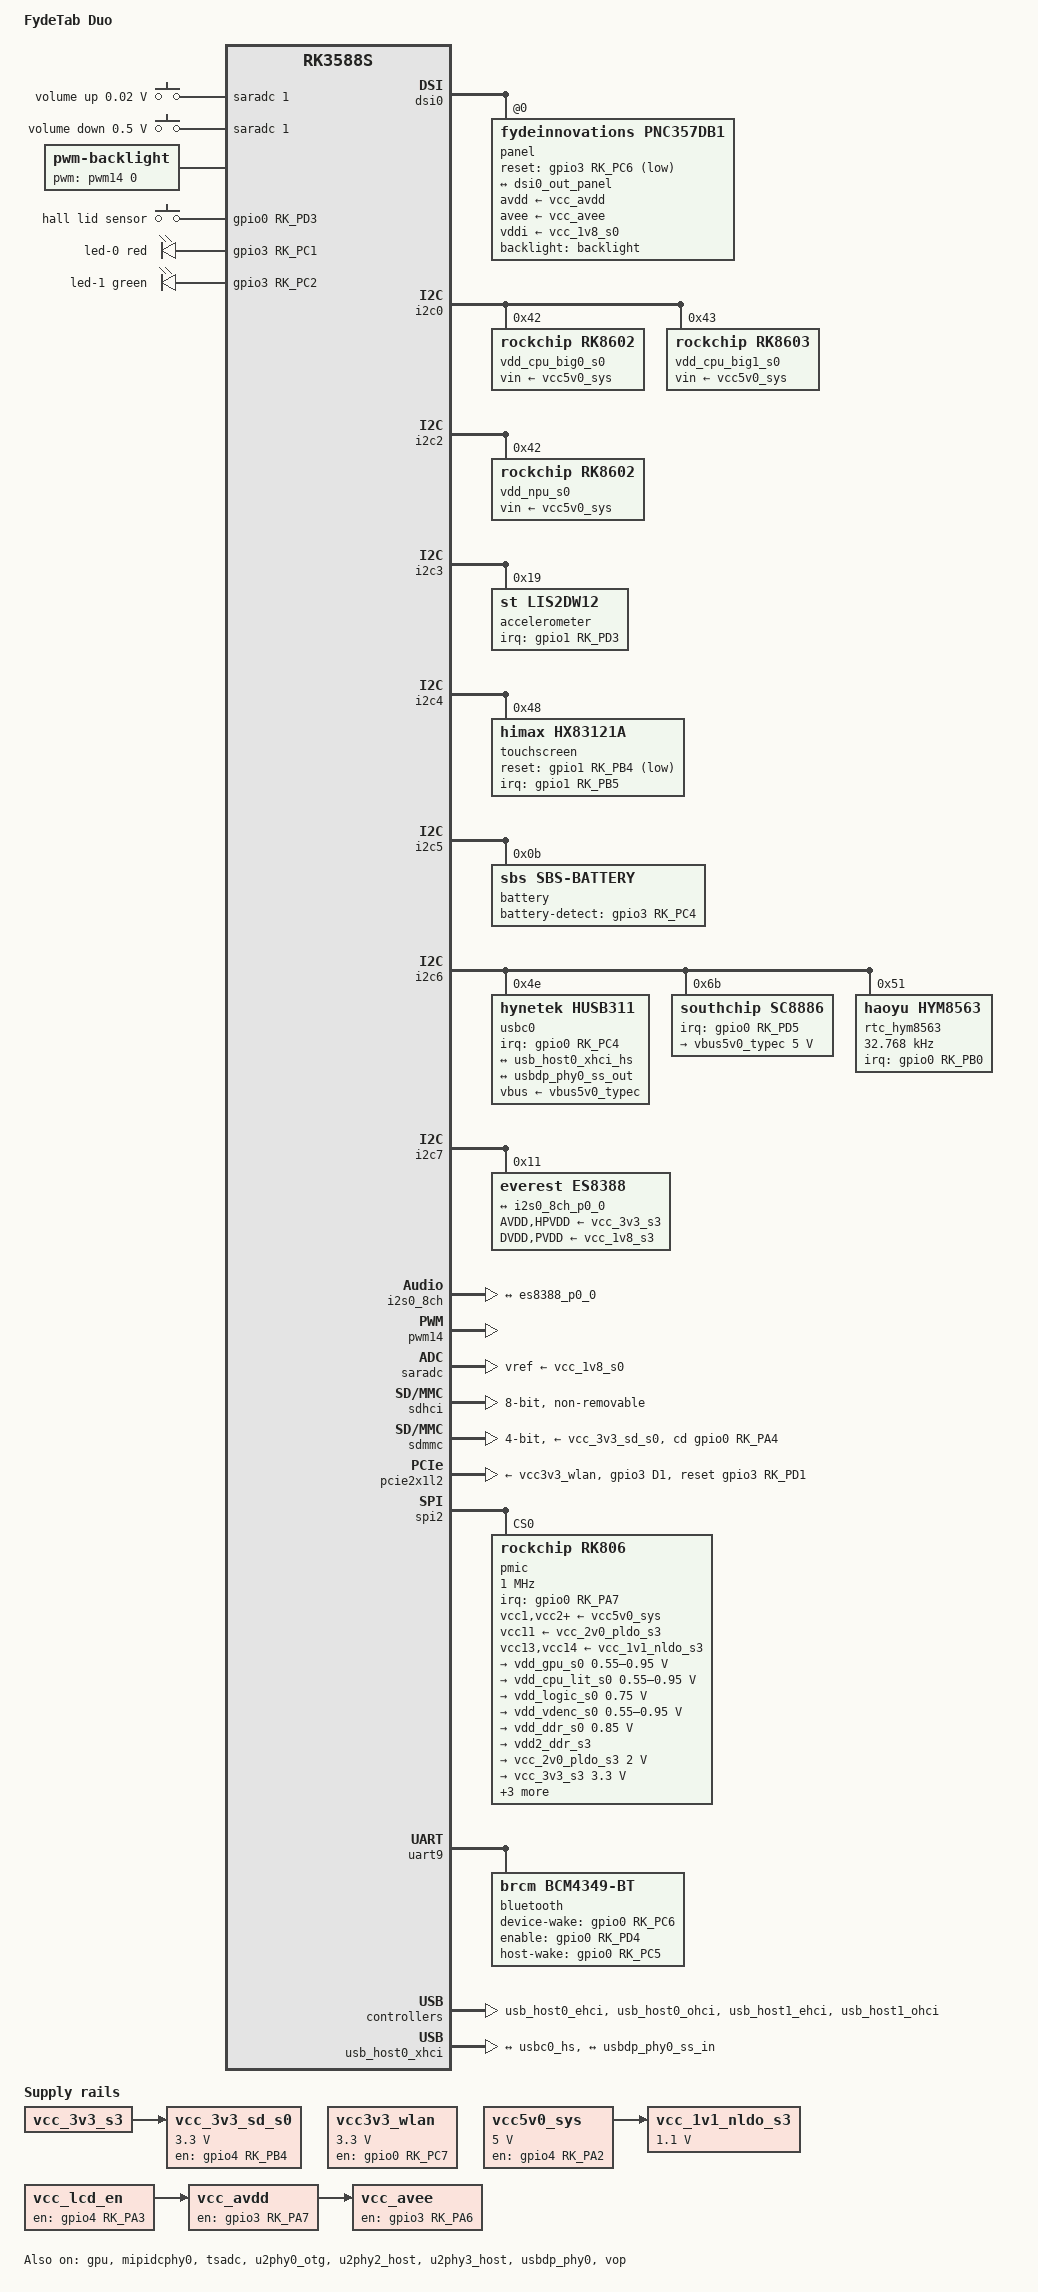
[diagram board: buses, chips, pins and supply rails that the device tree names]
// SPDX-License-Identifier: (GPL-2.0+ OR MIT)
/*
 * Copyright (c) 2026 Bill Sideris <bill88t@feline.gr>
 *
 * FydeTab Duo — RK3588S tablet.
 * Ported from the Fyde/rockchip vendor 6.1 tree (rk6.1-rkr3 Beryllium branch),
 * rewritten to mainline conventions. See TODOs at the bottom for parts that
 * still need upstream drivers before their nodes can be added.
 */

/dts-v1/;

#include <dt-bindings/gpio/gpio.h>
#include <dt-bindings/input/linux-event-codes.h>
#include <dt-bindings/leds/common.h>
#include <dt-bindings/pinctrl/rockchip.h>
#include <dt-bindings/pwm/pwm.h>
#include <dt-bindings/soc/rockchip,vop2.h>
#include <dt-bindings/usb/pd.h>
#include "rk3588s.dtsi"

/ {
	model = "FydeTab Duo";
	compatible = "fydeinnovations,fydetab-duo", "rockchip,rk3588s";
	chassis-type = "tablet";

	aliases {
		mmc0 = &sdhci;
		mmc1 = &sdmmc;
	};

	adc-keys {
		compatible = "adc-keys";
		io-channels = <&saradc 1>;
		io-channel-names = "buttons";
		keyup-threshold-microvolt = <1800000>;
		poll-interval = <100>;

		button-vol-up {
			label = "volume up";
			linux,code = <KEY_VOLUMEUP>;
			press-threshold-microvolt = <20000>;
		};

		button-vol-down {
			label = "volume down";
			linux,code = <KEY_VOLUMEDOWN>;
			press-threshold-microvolt = <500000>;
		};
	};

	backlight: backlight {
		compatible = "pwm-backlight";
		pwms = <&pwm14 0 25000 0>;
		brightness-levels = <
			  0  20  20  21  21  22  22  23
			 23  24  24  25  25  26  26  27
			 27  28  28  29  29  30  30  31
			 31  32  32  33  33  34  34  35
			 35  36  36  37  37  38  38  39
			 40  41  42  43  44  45  46  47
			 48  49  50  51  52  53  54  55
			 56  57  58  59  60  61  62  63
			 64  65  66  67  68  69  70  71
			 72  73  74  75  76  77  78  79
			 80  81  82  83  84  85  86  87
			 88  89  90  91  92  93  94  95
			 96  97  98  99 100 101 102 103
			104 105 106 107 108 109 110 111
			112 113 114 115 116 117 118 119
			120 121 122 123 124 125 126 127
			128 129 130 131 132 133 134 135
			136 137 138 139 140 141 142 143
			144 145 146 147 148 149 150 151
			152 153 154 155 156 157 158 159
			160 161 162 163 164 165 166 167
			168 169 170 171 172 173 174 175
			176 177 178 179 180 181 182 183
			184 185 186 187 188 189 190 191
			192 193 194 195 196 197 198 199
			200 201 202 203 204 205 206 207
			208 209 210 211 212 213 214 215
			216 217 218 219 220 221 222 223
			224 225 226 227 228 229 230 231
			232 233 234 235 236 237 238 239
			240 241 242 243 244 245 246 247
			248 249 250 251 252 253 254 255
		>;
		default-brightness-level = <200>;
		post-pwm-on-delay-ms = <200>;
	};

	gpio-keys {
		compatible = "gpio-keys";
		pinctrl-names = "default";
		pinctrl-0 = <&hall_sensor_int>;

		hall-lid {
			label = "hall lid sensor";
			linux,code = <SW_LID>;
			linux,input-type = <EV_SW>;
			gpios = <&gpio0 RK_PD3 GPIO_ACTIVE_HIGH>;
			wakeup-source;
		};
	};

	leds {
		compatible = "gpio-leds";
		pinctrl-names = "default";
		pinctrl-0 = <&red_led_pin &green_led_pin>;

		led-0 {
			color = <LED_COLOR_ID_RED>;
			default-state = "off";
			function = LED_FUNCTION_CHARGING;
			gpios = <&gpio3 RK_PC1 GPIO_ACTIVE_HIGH>;
			retain-state-suspended;
		};

		led-1 {
			color = <LED_COLOR_ID_GREEN>;
			default-state = "on";
			function = LED_FUNCTION_POWER;
			gpios = <&gpio3 RK_PC2 GPIO_ACTIVE_HIGH>;
		};
	};

	/*
	 * Wi-Fi (AP6275P) sits on pcie2x1l2 per the EDK2 firmware; this
	 * regulator is the module's WIFI_REG_ON power enable (gpio0 C7).
	 */
	vcc3v3_wlan: regulator-vcc3v3-wlan {
		compatible = "regulator-fixed";
		regulator-name = "vcc3v3_wlan";
		enable-active-high;
		gpio = <&gpio0 RK_PC7 GPIO_ACTIVE_HIGH>;
		pinctrl-names = "default";
		pinctrl-0 = <&wifi_poweren>;
		regulator-min-microvolt = <3300000>;
		regulator-max-microvolt = <3300000>;
		startup-delay-us = <5000>;
	};

	sound {
		compatible = "audio-graph-card";
		label = "Fydetab Duo";
		widgets = "Microphone", "Mic Jack",
			  "Headphone", "Headphones",
			  "Speaker", "Speakers";
		routing = "LINPUT1", "Mic Jack",
			  "RINPUT1", "Mic Jack",
			  "Headphones", "LOUT1",
			  "Headphones", "ROUT1",
			  "Speakers", "LOUT2",
			  "Speakers", "ROUT2";
		dais = <&i2s0_8ch_p0>;
	};

	/*
	 * Board input power comes from the battery through the SC8886 charger.
	 * Upstream has no SC8886 driver yet; until that lands, describe the
	 * main input rail as an always-on fixed supply so the PMIC tree has a
	 * root. The 5V rail switch (gpio4 A2) is confirmed by the EDK2
	 * firmware, which drives it during early init. TODO: replace with the
	 * real charger regulator once sc8886 is ported.
	 */
	vcc5v0_sys: regulator-vcc5v0-sys {
		compatible = "regulator-fixed";
		regulator-name = "vcc5v0_sys";
		regulator-always-on;
		regulator-boot-on;
		regulator-min-microvolt = <5000000>;
		regulator-max-microvolt = <5000000>;
		enable-active-high;
		gpio = <&gpio4 RK_PA2 GPIO_ACTIVE_HIGH>;
		pinctrl-names = "default";
		pinctrl-0 = <&vcc5v0_en>;
	};

	vcc_1v1_nldo_s3: regulator-vcc-1v1-nldo-s3 {
		compatible = "regulator-fixed";
		regulator-name = "vcc_1v1_nldo_s3";
		regulator-always-on;
		regulator-boot-on;
		regulator-min-microvolt = <1100000>;
		regulator-max-microvolt = <1100000>;
		vin-supply = <&vcc5v0_sys>;
	};

	vcc_3v3_sd_s0: regulator-vcc-3v3-sd-s0 {
		compatible = "regulator-fixed";
		regulator-name = "vcc_3v3_sd_s0";
		enable-active-high;
		gpio = <&gpio4 RK_PB4 GPIO_ACTIVE_HIGH>;
		pinctrl-names = "default";
		pinctrl-0 = <&sdmmc_power_en>;
		regulator-min-microvolt = <3300000>;
		regulator-max-microvolt = <3300000>;
		regulator-boot-on;
		vin-supply = <&vcc_3v3_s3>;

		regulator-state-mem {
			regulator-off-in-suspend;
		};
	};

	/* Panel backlight/AVDD/AVEE power chain: vcc_lcd_en -> vcc_avdd -> vcc_avee */
	vcc_lcd_en: regulator-vcc-lcd-en {
		compatible = "regulator-fixed";
		regulator-name = "vcc_lcd_en";
		enable-active-high;
		gpio = <&gpio4 RK_PA3 GPIO_ACTIVE_HIGH>;
		pinctrl-names = "default";
		pinctrl-0 = <&vcc_lcd_en_pin>;
	};

	vcc_avdd: regulator-vcc-avdd {
		compatible = "regulator-fixed";
		regulator-name = "vcc_avdd";
		enable-active-high;
		gpio = <&gpio3 RK_PA7 GPIO_ACTIVE_HIGH>;
		pinctrl-names = "default";
		pinctrl-0 = <&avdd_lcd_gpio>;
		startup-delay-us = <3>;
		vin-supply = <&vcc_lcd_en>;
	};

	vcc_avee: regulator-vcc-avee {
		compatible = "regulator-fixed";
		regulator-name = "vcc_avee";
		enable-active-high;
		gpio = <&gpio3 RK_PA6 GPIO_ACTIVE_HIGH>;
		pinctrl-names = "default";
		pinctrl-0 = <&avee_lcd_gpio>;
		startup-delay-us = <3>;
		vin-supply = <&vcc_avdd>;
	};
};

&cpu_l0 {
	cpu-supply = <&vdd_cpu_lit_s0>;
	mem-supply = <&vdd_cpu_lit_mem_s0>;
};

&cpu_b0 {
	cpu-supply = <&vdd_cpu_big0_s0>;
	mem-supply = <&vdd_cpu_big0_mem_s0>;
};

&cpu_b2 {
	cpu-supply = <&vdd_cpu_big1_s0>;
	mem-supply = <&vdd_cpu_big1_mem_s0>;
};

&dsi0 {
	#address-cells = <1>;
	#size-cells = <0>;
	status = "okay";

	panel@0 {
		/*
		 * CSOT PNC357DB1 (FydeTab Duo variant), driven by
		 * panel-himax-hx83121a. Backlight is pwm-backlight.
		 * NOTE: vddi mapping needs verification on hardware; the
		 * vendor tree only described vcc_avee to the panel, so the
		 * panel IO rail is assumed to be an always-on 1v8 rail.
		 */
		compatible = "fydeinnovations,pnc357db1";
		reg = <0>;
		backlight = <&backlight>;
		avdd-supply = <&vcc_avdd>;
		avee-supply = <&vcc_avee>;
		pinctrl-names = "default";
		pinctrl-0 = <&lcd_rst_gpio>;
		/* reset line is asserted low; EDK2 holds it low 120ms, then
		 * releases it and waits 120ms before the DCS init */
		reset-gpios = <&gpio3 RK_PC6 GPIO_ACTIVE_LOW>;
		rotation = <90>;
		vddi-supply = <&vcc_1v8_s0>;

		port {
			panel_in_dsi: endpoint {
				remote-endpoint = <&dsi0_out_panel>;
			};
		};
	};
};

&dsi0_in {
	dsi0_in_vp2: endpoint {
		remote-endpoint = <&vp2_out_dsi0>;
	};
};

&dsi0_out {
	dsi0_out_panel: endpoint {
		remote-endpoint = <&panel_in_dsi>;
	};
};

&gpu {
	mali-supply = <&vdd_gpu_s0>;
	mem-supply = <&vdd_gpu_mem_s0>;
	status = "okay";
};

&i2c0 {
	pinctrl-names = "default";
	pinctrl-0 = <&i2c0m2_xfer>;
	status = "okay";

	vdd_cpu_big0_s0: vdd_cpu_big0_mem_s0: regulator@42 {
		compatible = "rockchip,rk8602";
		reg = <0x42>;
		fcs,suspend-voltage-selector = <1>;
		regulator-always-on;
		regulator-boot-on;
		regulator-min-microvolt = <550000>;
		regulator-max-microvolt = <1050000>;
		regulator-name = "vdd_cpu_big0_s0";
		regulator-ramp-delay = <2300>;
		vin-supply = <&vcc5v0_sys>;

		regulator-state-mem {
			regulator-off-in-suspend;
		};
	};

	vdd_cpu_big1_s0: vdd_cpu_big1_mem_s0: regulator@43 {
		compatible = "rockchip,rk8603", "rockchip,rk8602";
		reg = <0x43>;
		fcs,suspend-voltage-selector = <1>;
		regulator-always-on;
		regulator-boot-on;
		regulator-min-microvolt = <550000>;
		regulator-max-microvolt = <1050000>;
		regulator-name = "vdd_cpu_big1_s0";
		regulator-ramp-delay = <2300>;
		vin-supply = <&vcc5v0_sys>;

		regulator-state-mem {
			regulator-off-in-suspend;
		};
	};
};

&i2c2 {
	status = "okay";

	vdd_npu_s0: vdd_npu_mem_s0: regulator@42 {
		compatible = "rockchip,rk8602";
		reg = <0x42>;
		fcs,suspend-voltage-selector = <1>;
		regulator-always-on;
		regulator-boot-on;
		regulator-min-microvolt = <550000>;
		regulator-max-microvolt = <950000>;
		regulator-name = "vdd_npu_s0";
		regulator-ramp-delay = <2300>;
		vin-supply = <&vcc5v0_sys>;

		regulator-state-mem {
			regulator-off-in-suspend;
		};
	};
};

&i2c3 {
	pinctrl-names = "default";
	pinctrl-0 = <&i2c3m1_xfer>;
	status = "okay";

	accelerometer@19 {
		compatible = "st,lis2dw12";
		reg = <0x19>;
		interrupt-parent = <&gpio1>;
		interrupts = <RK_PD3 IRQ_TYPE_LEVEL_LOW>;
		pinctrl-names = "default";
		pinctrl-0 = <&gyr_int_l>;
	};
};

&i2c4 {
	pinctrl-names = "default";
	pinctrl-0 = <&i2c4m3_xfer>;
	status = "okay";

	touchscreen@48 {
		compatible = "himax,hx83121a";
		reg = <0x48>;
		interrupt-parent = <&gpio1>;
		interrupts = <RK_PB5 IRQ_TYPE_LEVEL_LOW>;
		pinctrl-names = "default";
		pinctrl-0 = <&touch_int &touch_rst>;
		reset-gpios = <&gpio1 RK_PB4 GPIO_ACTIVE_LOW>;
		touchscreen-size-x = <1600>;
		touchscreen-size-y = <2560>;
	};
};

&i2c5 {
	pinctrl-names = "default";
	pinctrl-0 = <&i2c5m3_xfer>;
	status = "okay";

	battery: battery@b {
		compatible = "sbs,sbs-battery";
		reg = <0x0b>;
		sbs,battery-detect-gpios = <&gpio3 RK_PC4 GPIO_ACTIVE_HIGH>;
		sbs,i2c-retry-count = <100>;
		sbs,poll-retry-count = <100>;
	};
};

&i2c6 {
	pinctrl-names = "default";
	pinctrl-0 = <&i2c6m3_xfer>;
	status = "okay";

	usbc0: usb-tc@4e {
		compatible = "hynetek,husb311";
		reg = <0x4e>;
		interrupt-parent = <&gpio0>;
		interrupts = <RK_PC4 IRQ_TYPE_LEVEL_LOW>;
		pinctrl-names = "default";
		pinctrl-0 = <&usbc0_int>;
		vbus-supply = <&vbus5v0_typec>;
		wakeup-source;

		usb_con: connector {
			compatible = "usb-c-connector";
			data-role = "dual";
			label = "USB-C";
			power-role = "dual";
			try-power-role = "sink";
			op-sink-microwatt = <1000000>;
			sink-pdos =
				<PDO_FIXED(5000, 3000, PDO_FIXED_USB_COMM)
				 PDO_FIXED(9000, 3000, PDO_FIXED_USB_COMM)
				 PDO_FIXED(20000, 2500, PDO_FIXED_USB_COMM)>;
			source-pdos =
				<PDO_FIXED(5000, 3000, PDO_FIXED_USB_COMM)>;

			ports {
				#address-cells = <1>;
				#size-cells = <0>;

				port@0 {
					reg = <0>;
					usbc0_hs: endpoint {
						remote-endpoint =
							<&usb_host0_xhci_hs>;
					};
				};

				port@1 {
					reg = <1>;
					usbc0_ss: endpoint {
						remote-endpoint =
							<&usbdp_phy0_ss_out>;
					};
				};
			};
		};
	};

	/*
	 * SC8886 charger (register-compatible with the TI BQ25703A).
	 * Battery limits are from the vendor tree; verify on hardware.
	 * The vbus regulator sources the USB-C VBUS path (gpio4 A6 is
	 * the OTG/charge direction enable).
	 */
	sc8886: charger@6b {
		compatible = "southchip,sc8886";
		reg = <0x6b>;
		interrupt-parent = <&gpio0>;
		interrupts = <RK_PD5 IRQ_TYPE_LEVEL_LOW>;
		pinctrl-names = "default";
		pinctrl-0 = <&charger_int>;
		power-supplies = <&usb_con>;

		battery {
			constant-charge-current-max-microamp = <2500000>;
			constant-charge-voltage-max-microvolt = <13200000>;
			voltage-min-design-microvolt = <3200000>;
		};

		regulators {
			vbus5v0_typec: vbus {
				regulator-name = "vbus5v0_typec";
				regulator-min-microvolt = <5000000>;
				regulator-max-microvolt = <5000000>;
				enable-active-high;
				enable-gpios = <&gpio4 RK_PA6 GPIO_ACTIVE_HIGH>;
				pinctrl-names = "default";
				pinctrl-0 = <&charger_otg_en>;
			};
		};
	};

	rtc_hym8563: rtc@51 {
		compatible = "haoyu,hym8563";
		reg = <0x51>;
		#clock-cells = <0>;
		clock-frequency = <32768>;
		clock-output-names = "hym8563";
		interrupt-parent = <&gpio0>;
		interrupts = <RK_PB0 IRQ_TYPE_LEVEL_LOW>;
		pinctrl-names = "default";
		pinctrl-0 = <&hym8563_int>;
		wakeup-source;
	};
};

&i2c7 {
	pinctrl-names = "default";
	pinctrl-0 = <&i2c7m0_xfer>;
	status = "okay";

	es8388: audio-codec@11 {
		compatible = "everest,es8388", "everest,es8328";
		reg = <0x11>;
		#sound-dai-cells = <0>;
		assigned-clock-rates = <12288000>;
		assigned-clocks = <&cru I2S0_8CH_MCLKOUT>;
		AVDD-supply = <&vcc_3v3_s3>;
		clocks = <&cru I2S0_8CH_MCLKOUT>;
		DVDD-supply = <&vcc_1v8_s3>;
		HPVDD-supply = <&vcc_3v3_s3>;
		PVDD-supply = <&vcc_1v8_s3>;

		port {
			es8388_p0_0: endpoint {
				remote-endpoint = <&i2s0_8ch_p0_0>;
			};
		};
	};
};

&i2s0_8ch {
	pinctrl-names = "default";
	pinctrl-0 = <&i2s0_mclk
		     &i2s0_lrck
		     &i2s0_sclk
		     &i2s0_sdi0
		     &i2s0_sdo0>;
	status = "okay";

	i2s0_8ch_p0: port {
		i2s0_8ch_p0_0: endpoint {
			dai-format = "i2s";
			mclk-fs = <256>;
			remote-endpoint = <&es8388_p0_0>;
		};
	};
};

&mipidcphy0 {
	status = "okay";
};

&pinctrl {
	leds {
		red_led_pin: red-led-pin {
			rockchip,pins = <3 RK_PC1 RK_FUNC_GPIO &pcfg_pull_none>;
		};

		green_led_pin: green-led-pin {
			rockchip,pins = <3 RK_PC2 RK_FUNC_GPIO &pcfg_pull_none>;
		};
	};

	lcd {
		lcd_rst_gpio: lcd-rst-gpio {
			rockchip,pins = <3 RK_PC6 RK_FUNC_GPIO &pcfg_pull_none>;
		};

		avdd_lcd_gpio: avdd-lcd-gpio {
			rockchip,pins = <3 RK_PA7 RK_FUNC_GPIO &pcfg_pull_none>;
		};

		avee_lcd_gpio: avee-lcd-gpio {
			rockchip,pins = <3 RK_PA6 RK_FUNC_GPIO &pcfg_pull_none>;
		};

		vcc_lcd_en_pin: vcc-lcd-en-pin {
			rockchip,pins = <4 RK_PA3 RK_FUNC_GPIO &pcfg_pull_none>;
		};
	};

	sensor {
		hall_sensor_int: hall-sensor-int {
			rockchip,pins = <0 RK_PD3 RK_FUNC_GPIO &pcfg_pull_up>;
		};

		gyr_int_l: gyr-int-l {
			rockchip,pins = <1 RK_PD3 RK_FUNC_GPIO &pcfg_pull_up>;
		};
	};

	sd {
		sdmmc_power_en: sdmmc-power-en {
			rockchip,pins = <4 RK_PB4 RK_FUNC_GPIO &pcfg_pull_up>;
		};
	};

	bluetooth-pins {
		bt_reset: bt-reset {
			rockchip,pins = <0 RK_PD4 RK_FUNC_GPIO &pcfg_pull_none>;
		};

		bt_wake_dev: bt-wake-dev {
			rockchip,pins = <0 RK_PC6 RK_FUNC_GPIO &pcfg_pull_none>;
		};

		bt_wake_host: bt-wake-host {
			rockchip,pins = <0 RK_PC5 RK_FUNC_GPIO &pcfg_pull_down>;
		};
	};

	wifi {
		wifi_poweren: wifi-poweren {
			rockchip,pins = <0 RK_PC7 RK_FUNC_GPIO &pcfg_pull_none>;
		};
	};

	pcie {
		pcie_rst: pcie-rst {
			rockchip,pins = <3 RK_PD1 RK_FUNC_GPIO &pcfg_pull_none>;
		};
	};

	12c-power {
		vcc5v0_en: vcc5v0-en {
			rockchip,pins = <4 RK_PA2 RK_FUNC_GPIO &pcfg_pull_up>;
		};
	};

	usb-typec {
		usbc0_int: usbc0-int {
			rockchip,pins = <0 RK_PC4 RK_FUNC_GPIO &pcfg_pull_up>;
		};
	};

	charger {
		charger_int: charger-int {
			rockchip,pins = <0 RK_PD5 RK_FUNC_GPIO &pcfg_pull_up>;
		};

		charger_otg_en: charger-otg-en {
			rockchip,pins = <4 RK_PA6 RK_FUNC_GPIO &pcfg_pull_none>;
		};
	};

	touch {
		touch_int: touch-int {
			rockchip,pins = <1 RK_PB5 RK_FUNC_GPIO &pcfg_pull_up>;
		};

		touch_rst: touch-rst {
			rockchip,pins = <1 RK_PB4 RK_FUNC_GPIO &pcfg_pull_none>;
		};
	};

	rtc {
		hym8563_int: hym8563-int {
			rockchip,pins = <0 RK_PB0 RK_FUNC_GPIO &pcfg_pull_up>;
		};
	};
};

&pwm14 {
	pinctrl-0 = <&pwm14m1_pins>;
	pinctrl-names = "default";
	status = "okay";
};

&saradc {
	vref-supply = <&vcc_1v8_s0>;
	status = "okay";
};

&sdhci {
	bus-width = <8>;
	max-frequency = <200000000>;
	mmc-hs400-1_8v;
	mmc-hs400-enhanced-strobe;
	no-sd;
	no-sdio;
	non-removable;
	status = "okay";
};

&sdmmc {
	bus-width = <4>;
	cap-mmc-highspeed;
	cap-sd-highspeed;
	cd-gpios = <&gpio0 RK_PA4 GPIO_ACTIVE_HIGH>;
	/* cd line is unreliable on this board; broken-cd polls instead */
	broken-cd;
	disable-wp;
	max-frequency = <150000000>;
	no-mmc;
	no-sdio;
	vmmc-supply = <&vcc_3v3_sd_s0>;
	status = "okay";
};

&pcie2x1l2 {
	pinctrl-names = "default";
	pinctrl-0 = <&pcie_rst>;
	reset-gpios = <&gpio3 RK_PD1 GPIO_ACTIVE_HIGH>;
	vpcie3v3-supply = <&vcc3v3_wlan>;
	status = "okay";
};

&spi2 {
	#address-cells = <1>;
	assigned-clocks = <&cru CLK_SPI2>;
	assigned-clock-rates = <200000000>;
	num-cs = <1>;
	pinctrl-0 = <&spi2m2_cs0 &spi2m2_pins>;
	pinctrl-names = "default";
	#size-cells = <0>;
	status = "okay";

	pmic@0 {
		compatible = "rockchip,rk806";
		reg = <0x0>;
		#gpio-cells = <2>;
		gpio-controller;
		interrupt-parent = <&gpio0>;
		interrupts = <RK_PA7 IRQ_TYPE_LEVEL_LOW>;
		pinctrl-0 = <&pmic_pins>, <&rk806_dvs1_null>,
			    <&rk806_dvs2_null>, <&rk806_dvs3_null>;
		pinctrl-names = "default";
		spi-max-frequency = <1000000>;

		vcc1-supply = <&vcc5v0_sys>;
		vcc2-supply = <&vcc5v0_sys>;
		vcc3-supply = <&vcc5v0_sys>;
		vcc4-supply = <&vcc5v0_sys>;
		vcc5-supply = <&vcc5v0_sys>;
		vcc6-supply = <&vcc5v0_sys>;
		vcc7-supply = <&vcc5v0_sys>;
		vcc8-supply = <&vcc5v0_sys>;
		vcc9-supply = <&vcc5v0_sys>;
		vcc10-supply = <&vcc5v0_sys>;
		vcc11-supply = <&vcc_2v0_pldo_s3>;
		vcc12-supply = <&vcc5v0_sys>;
		vcc13-supply = <&vcc_1v1_nldo_s3>;
		vcc14-supply = <&vcc_1v1_nldo_s3>;
		vcca-supply = <&vcc5v0_sys>;

		rk806_dvs1_null: dvs1-null-pins {
			pins = "gpio_pwrctrl1";
			function = "pin_fun0";
		};

		rk806_dvs2_null: dvs2-null-pins {
			pins = "gpio_pwrctrl2";
			function = "pin_fun0";
		};

		rk806_dvs3_null: dvs3-null-pins {
			pins = "gpio_pwrctrl3";
			function = "pin_fun0";
		};

		regulators {
			vdd_gpu_s0: vdd_gpu_mem_s0: DCDC_REG1 {
				regulator-always-on;
				regulator-boot-on;
				regulator-enable-ramp-delay = <400>;
				regulator-max-microvolt = <950000>;
				regulator-min-microvolt = <550000>;
				regulator-name = "vdd_gpu_s0";
				regulator-ramp-delay = <12500>;

				regulator-state-mem {
					regulator-off-in-suspend;
				};
			};

			vdd_cpu_lit_s0: vdd_cpu_lit_mem_s0: DCDC_REG2 {
				regulator-always-on;
				regulator-boot-on;
				regulator-max-microvolt = <950000>;
				regulator-min-microvolt = <550000>;
				regulator-name = "vdd_cpu_lit_s0";
				regulator-ramp-delay = <12500>;

				regulator-state-mem {
					regulator-off-in-suspend;
				};
			};

			vdd_logic_s0: DCDC_REG3 {
				regulator-always-on;
				regulator-boot-on;
				regulator-max-microvolt = <750000>;
				regulator-min-microvolt = <750000>;
				regulator-name = "vdd_logic_s0";
				regulator-ramp-delay = <12500>;

				regulator-state-mem {
					regulator-off-in-suspend;
				};
			};

			vdd_vdenc_s0: vdd_vdenc_mem_s0: DCDC_REG4 {
				regulator-always-on;
				regulator-boot-on;
				regulator-init-microvolt = <750000>;
				regulator-max-microvolt = <950000>;
				regulator-min-microvolt = <550000>;
				regulator-name = "vdd_vdenc_s0";
				regulator-ramp-delay = <12500>;

				regulator-state-mem {
					regulator-off-in-suspend;
				};
			};

			vdd_ddr_s0: DCDC_REG5 {
				regulator-always-on;
				regulator-boot-on;
				regulator-max-microvolt = <850000>;
				regulator-min-microvolt = <850000>;
				regulator-name = "vdd_ddr_s0";
				regulator-ramp-delay = <12500>;

				regulator-state-mem {
					regulator-off-in-suspend;
					regulator-suspend-microvolt = <850000>;
				};
			};

			vdd2_ddr_s3: DCDC_REG6 {
				regulator-always-on;
				regulator-boot-on;
				regulator-name = "vdd2_ddr_s3";

				regulator-state-mem {
					regulator-on-in-suspend;
				};
			};

			vcc_2v0_pldo_s3: DCDC_REG7 {
				regulator-always-on;
				regulator-boot-on;
				regulator-max-microvolt = <2000000>;
				regulator-min-microvolt = <2000000>;
				regulator-name = "vcc_2v0_pldo_s3";

				regulator-state-mem {
					regulator-off-in-suspend;
				};
			};

			vcc_3v3_s3: DCDC_REG8 {
				regulator-always-on;
				regulator-boot-on;
				regulator-max-microvolt = <3300000>;
				regulator-min-microvolt = <3300000>;
				regulator-name = "vcc_3v3_s3";

				regulator-state-mem {
					regulator-on-in-suspend;
					regulator-suspend-microvolt = <3300000>;
				};
			};

			vddq_ddr_s0: DCDC_REG9 {
				regulator-always-on;
				regulator-boot-on;
				regulator-name = "vddq_ddr_s0";

				regulator-state-mem {
					regulator-off-in-suspend;
				};
			};

			vcc_1v8_s3: DCDC_REG10 {
				regulator-always-on;
				regulator-boot-on;
				regulator-max-microvolt = <1800000>;
				regulator-min-microvolt = <1800000>;
				regulator-name = "vcc_1v8_s3";

				regulator-state-mem {
					regulator-on-in-suspend;
					regulator-suspend-microvolt = <1800000>;
				};
			};

			avcc_1v8_s0: PLDO_REG1 {
				regulator-always-on;
				regulator-boot-on;
				regulator-max-microvolt = <1800000>;
				regulator-min-microvolt = <1800000>;
				regulator-name = "avcc_1v8_s0";

				regulator-state-mem {
					regulator-off-in-suspend;
				};
			};

			vcc_1v8_s0: PLDO_REG2 {
				regulator-always-on;
				regulator-boot-on;
				regulator-max-microvolt = <1800000>;
				regulator-min-microvolt = <1800000>;
				regulator-name = "vcc_1v8_s0";

				regulator-state-mem {
					regulator-off-in-suspend;
					regulator-suspend-microvolt = <1800000>;
				};
			};

			avdd_1v2_s0: PLDO_REG3 {
				regulator-always-on;
				regulator-boot-on;
				regulator-max-microvolt = <1200000>;
				regulator-min-microvolt = <1200000>;
				regulator-name = "avdd_1v2_s0";

				regulator-state-mem {
					regulator-off-in-suspend;
				};
			};

			vcc_3v3_s0: PLDO_REG4 {
				regulator-always-on;
				regulator-boot-on;
				regulator-max-microvolt = <3300000>;
				regulator-min-microvolt = <3300000>;
				regulator-name = "vcc_3v3_s0";

				regulator-state-mem {
					regulator-off-in-suspend;
				};
			};

			vccio_sd_s0: PLDO_REG5 {
				regulator-always-on;
				regulator-boot-on;
				regulator-max-microvolt = <3300000>;
				regulator-min-microvolt = <1800000>;
				regulator-name = "vccio_sd_s0";

				regulator-state-mem {
					regulator-off-in-suspend;
				};
			};

			vcc_1v8_s3_pldo6: PLDO_REG6 {
				regulator-always-on;
				regulator-boot-on;
				regulator-max-microvolt = <1800000>;
				regulator-min-microvolt = <1800000>;
				regulator-name = "vcc_1v8_s3_pldo6";

				regulator-state-mem {
					regulator-on-in-suspend;
					regulator-suspend-microvolt = <1800000>;
				};
			};

			vdd_0v75_s3: NLDO_REG1 {
				regulator-always-on;
				regulator-boot-on;
				regulator-max-microvolt = <750000>;
				regulator-min-microvolt = <750000>;
				regulator-name = "vdd_0v75_s3";

				regulator-state-mem {
					regulator-on-in-suspend;
					regulator-suspend-microvolt = <750000>;
				};
			};

			vdd_ddr_pll_s0: NLDO_REG2 {
				regulator-always-on;
				regulator-boot-on;
				regulator-max-microvolt = <850000>;
				regulator-min-microvolt = <850000>;
				regulator-name = "vdd_ddr_pll_s0";

				regulator-state-mem {
					regulator-off-in-suspend;
					regulator-suspend-microvolt = <850000>;
				};
			};

			avdd_0v75_s0: NLDO_REG3 {
				regulator-always-on;
				regulator-boot-on;
				regulator-max-microvolt = <750000>;
				regulator-min-microvolt = <750000>;
				regulator-name = "avdd_0v75_s0";

				regulator-state-mem {
					regulator-off-in-suspend;
				};
			};

			vdd_0v85_s0: NLDO_REG4 {
				regulator-always-on;
				regulator-boot-on;
				regulator-max-microvolt = <850000>;
				regulator-min-microvolt = <850000>;
				regulator-name = "vdd_0v85_s0";

				regulator-state-mem {
					regulator-off-in-suspend;
				};
			};

			/* NLDO_REG5 unused on this board */
		};
	};
};

&tsadc {
	status = "okay";
};

&uart9 {
	pinctrl-0 = <&uart9m2_xfer>, <&uart9m2_ctsn>, <&uart9m2_rtsn>;
	pinctrl-names = "default";
	uart-has-rtscts;
	status = "okay";

	bluetooth {
		/*
		 * AP6275P module BT side (Broadcom). Upstream has no
		 * bcm4389 entry; bcm4349-bt is the closest match, verify
		 * behaviour on hardware.
		 */
		compatible = "brcm,bcm4349-bt";
		clocks = <&rtc_hym8563>;
		device-wake-gpios = <&gpio0 RK_PC6 GPIO_ACTIVE_HIGH>;
		enable-gpios = <&gpio0 RK_PD4 GPIO_ACTIVE_HIGH>;
		host-wake-gpios = <&gpio0 RK_PC5 GPIO_ACTIVE_HIGH>;
		pinctrl-0 = <&bt_reset>, <&bt_wake_dev>, <&bt_wake_host>;
		pinctrl-names = "default";
	};
};

&u2phy0_otg {
	status = "okay";
};

&u2phy2_host {
	status = "okay";
};

&u2phy3_host {
	status = "okay";
};

&usb_host0_ehci {
	status = "okay";
};

&usb_host0_ohci {
	status = "okay";
};

&usb_host1_ehci {
	status = "okay";
};

&usb_host1_ohci {
	status = "okay";
};

&usb_host0_xhci {
	usb-role-switch;
	status = "okay";

	ports {
		#address-cells = <1>;
		#size-cells = <0>;

		port@0 {
			reg = <0>;
			usb_host0_xhci_hs: endpoint {
				remote-endpoint = <&usbc0_hs>;
			};
		};

		port@1 {
			reg = <1>;
			usb_host0_xhci_ss: endpoint {
				remote-endpoint = <&usbdp_phy0_ss_in>;
			};
		};
	};
};

&usbdp_phy0 {
	mode-switch;
	orientation-switch;
	sbu1-dc-gpios = <&gpio4 RK_PA0 GPIO_ACTIVE_HIGH>;
	sbu2-dc-gpios = <&gpio4 RK_PA1 GPIO_ACTIVE_HIGH>;
	status = "okay";

	port {
		#address-cells = <1>;
		#size-cells = <0>;

		usbdp_phy0_ss_out: endpoint@0 {
			reg = <0>;
			remote-endpoint = <&usbc0_ss>;
		};

		usbdp_phy0_ss_in: endpoint@1 {
			reg = <1>;
			remote-endpoint = <&usb_host0_xhci_ss>;
		};
	};
};

&vop {
	status = "okay";
};

&vop_mmu {
	status = "okay";
};

&vp2 {
	#address-cells = <1>;
	#size-cells = <0>;

	vp2_out_dsi0: endpoint@ROCKCHIP_VOP2_EP_MIPI0 {
		reg = <ROCKCHIP_VOP2_EP_MIPI0>;
		remote-endpoint = <&dsi0_in_vp2>;
	};
};

/*
 * TODO, next porting steps (no upstream driver exists yet on 7.3):
 *  - DSC support in dw-mipi-dsi2 / dw-mipi-dsi2-rockchip (the only blocker
 *    for the display; reference: EDK2 DisplayLib + rkr3 vendor dsi2 driver)
 *  - USB-C DP altmode: the connector graph has no displayport altmode yet
 *    (needs usbdp_phy0_dp endpoints + dp0 wiring once DP bringup works)
 *  - LTE modem power sequencing (gpio3 A0/A1/A4/A5), no pcie consumer yet
 *  - fingerprint reader on spi3 (vendor microarray driver)
 *  - headphone jack detect (gpio1 C0) and speaker amp enable (gpio4 A5)
 *    are currently unmodeled; EDK2 drives both.
 *  - PDM mic array on pdm1 (no pdm node upstream in rk3588 dtsi yet;
 *    vendor wiring: pdm1m1_clk1 + pdm1m1_sdi3, path-map 3 2 1 0)
 */
